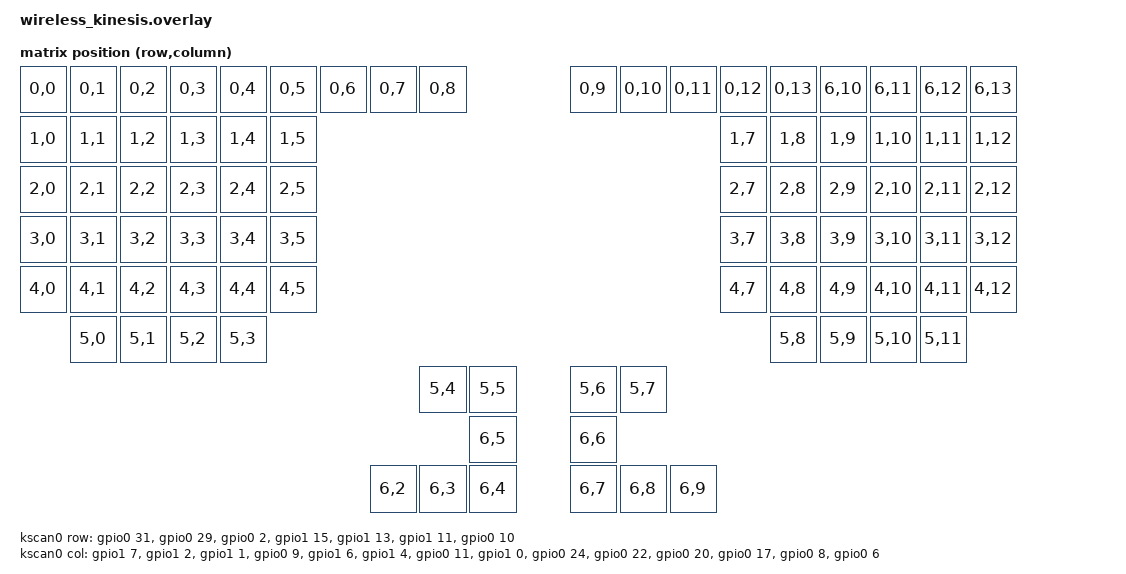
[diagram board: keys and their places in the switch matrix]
#include <dt-bindings/zmk/matrix_transform.h>

/ {
    chosen {
        zmk,kscan = &kscan0;
        zmk,matrix-transform = &default_transform;
    };
     kscan0: kscan_0 {
        compatible = "zmk,kscan-gpio-matrix";
        diode-direction = "col2row";

        col-gpios
            = <&gpio1 7 GPIO_ACTIVE_HIGH>       // 0
            , <&gpio1 2 GPIO_ACTIVE_HIGH>       // 1
            , <&gpio1 1 GPIO_ACTIVE_HIGH>       // 2
            , <&gpio0 9 GPIO_ACTIVE_HIGH>      // 3
            , <&gpio1 6 GPIO_ACTIVE_HIGH>      // 4
            , <&gpio1 4 GPIO_ACTIVE_HIGH>      // 5
            , <&gpio0 11 GPIO_ACTIVE_HIGH>       // 6
            , <&gpio1 0 GPIO_ACTIVE_HIGH>      // 7
            , <&gpio0 24 GPIO_ACTIVE_HIGH>       // 8
            , <&gpio0 22 GPIO_ACTIVE_HIGH>       // 9
            , <&gpio0 20 GPIO_ACTIVE_HIGH>      // 10
            , <&gpio0 17 GPIO_ACTIVE_HIGH>      // 11
            , <&gpio0 8 GPIO_ACTIVE_HIGH>       // 12
            , <&gpio0 6 GPIO_ACTIVE_HIGH>      // 13
            ;

        row-gpios
            = <&gpio0 31 (GPIO_ACTIVE_HIGH | GPIO_PULL_DOWN)>   // 0
            , <&gpio0 29 (GPIO_ACTIVE_HIGH | GPIO_PULL_DOWN)>   // 1
            , <&gpio0 2 (GPIO_ACTIVE_HIGH | GPIO_PULL_DOWN)>   // 2
            , <&gpio1 15 (GPIO_ACTIVE_HIGH | GPIO_PULL_DOWN)>    // 3
            , <&gpio1 13 (GPIO_ACTIVE_HIGH | GPIO_PULL_DOWN)>    // 4
            , <&gpio1 11 (GPIO_ACTIVE_HIGH | GPIO_PULL_DOWN)>    // 5
            , <&gpio0 10 (GPIO_ACTIVE_HIGH | GPIO_PULL_DOWN)>    // 6
            ;
    };

    default_transform: keymap_transform_0 {
        compatible = "zmk,matrix-transform";
        columns = <14>;
        rows = <7>;
        map = <
RC(0,0) RC(0,1) RC(0,2) RC(0,3) RC(0,4) RC(0,5) RC(0,6) RC(0,7) RC(0,8)                    RC(0,9) RC(0,10) RC(0,11) RC(0,12) RC(0,13) RC(6,10) RC(6,11) RC(6,12) RC(6,13)

RC(1,0) RC(1,1) RC(1,2) RC(1,3) RC(1,4) RC(1,5)                                                                         RC(1,7) RC(1,8) RC(1,9) RC(1,10) RC(1,11) RC(1,12)
RC(2,0) RC(2,1) RC(2,2) RC(2,3) RC(2,4) RC(2,5)                                                                         RC(2,7) RC(2,8) RC(2,9) RC(2,10) RC(2,11) RC(2,12)
RC(3,0) RC(3,1) RC(3,2) RC(3,3) RC(3,4) RC(3,5)                                                                         RC(3,7) RC(3,8) RC(3,9) RC(3,10) RC(3,11) RC(3,12)
RC(4,0) RC(4,1) RC(4,2) RC(4,3) RC(4,4) RC(4,5)                                                                         RC(4,7) RC(4,8) RC(4,9) RC(4,10) RC(4,11) RC(4,12)
        RC(5,0) RC(5,1) RC(5,2) RC(5,3)                                                                                         RC(5,8) RC(5,9) RC(5,10) RC(5,11)

                                                                RC(5,4) RC(5,5)             RC(5,6) RC(5,7)
                                                                        RC(6,5)             RC(6,6)
                                                        RC(6,2) RC(6,3) RC(6,4)             RC(6,7) RC(6,8) RC(6,9)

        >;
    };
};
// vim: set ft=c:
